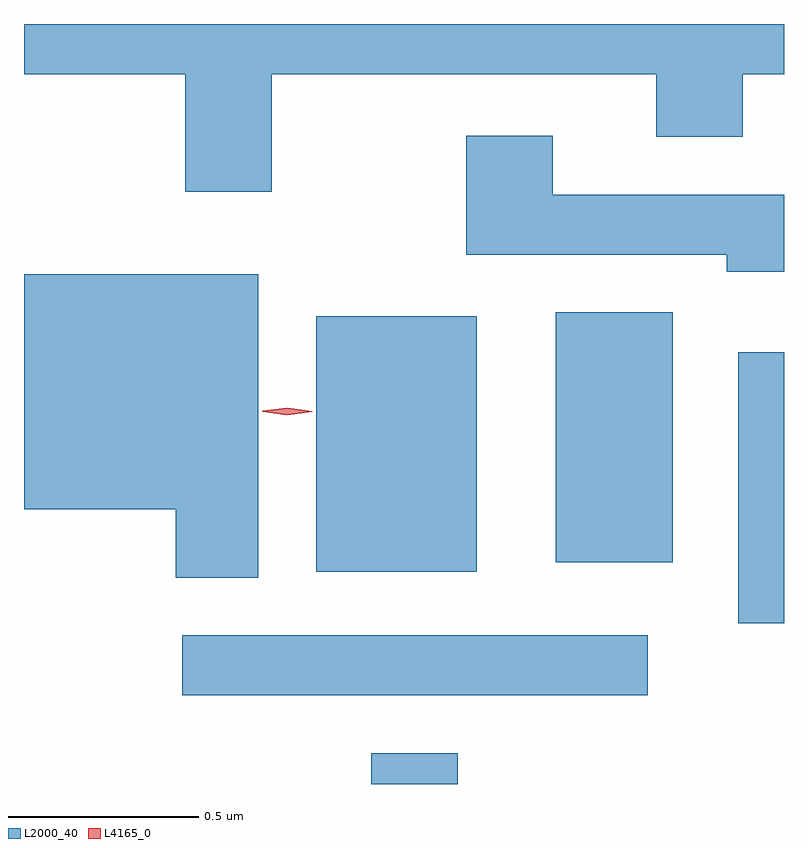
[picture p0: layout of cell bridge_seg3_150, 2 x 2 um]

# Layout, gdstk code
import gdstk
lib = gdstk.Library(unit=1e-6, precision=1e-09)
def R(c, l, rs):  # rectangles x0, y0, x1, y1
    for r in rs: c.add(gdstk.rectangle(r[:2], r[2:], *l))
def P(c, l, *ps):  # polygons
    for p in ps: c.add(gdstk.Polygon(p, *l))
L2000_40 = (2000, 40)
L4165_0 = (4165, 0)

bridge_seg3_150 = lib.new_cell('bridge_seg3_150')
R(bridge_seg3_150, L2000_40, [(771.551,1188.528,771.779,1188.609), (771.053,1188.761,772.278,1188.919), (772.516,1188.951,772.637,1189.664), (771.406,1189.086,771.829,1189.759), (772.036,1189.111,772.344,1189.769)])
P(bridge_seg3_150, L2000_40, [(771.289,1190.396),(772.301,1190.396),(772.301,1190.231),(772.529,1190.231),(772.529,1190.396),(772.637,1190.396),(772.637,1190.528),(770.637,1190.528),(770.637,1190.396),(771.061,1190.396),(771.061,1190.086),(771.289,1190.086)],
  [(772.637,1190.079),(772.029,1190.079),(772.029,1190.234),(771.801,1190.234),(771.801,1189.921),(772.486,1189.921),(772.486,1189.876),(772.637,1189.876)],
  [(771.254,1189.869),(770.637,1189.869),(770.637,1189.251),(771.036,1189.251),(771.036,1189.071),(771.254,1189.071)])
P(bridge_seg3_150, L4165_0, [(771.33,1189.499),(771.265,1189.508),(771.264,1189.509),(771.265,1189.51),(771.33,1189.518),(771.396,1189.509),(771.396,1189.508),(771.396,1189.508)])

lib.write_gds('bridge_seg3_150.gds')
